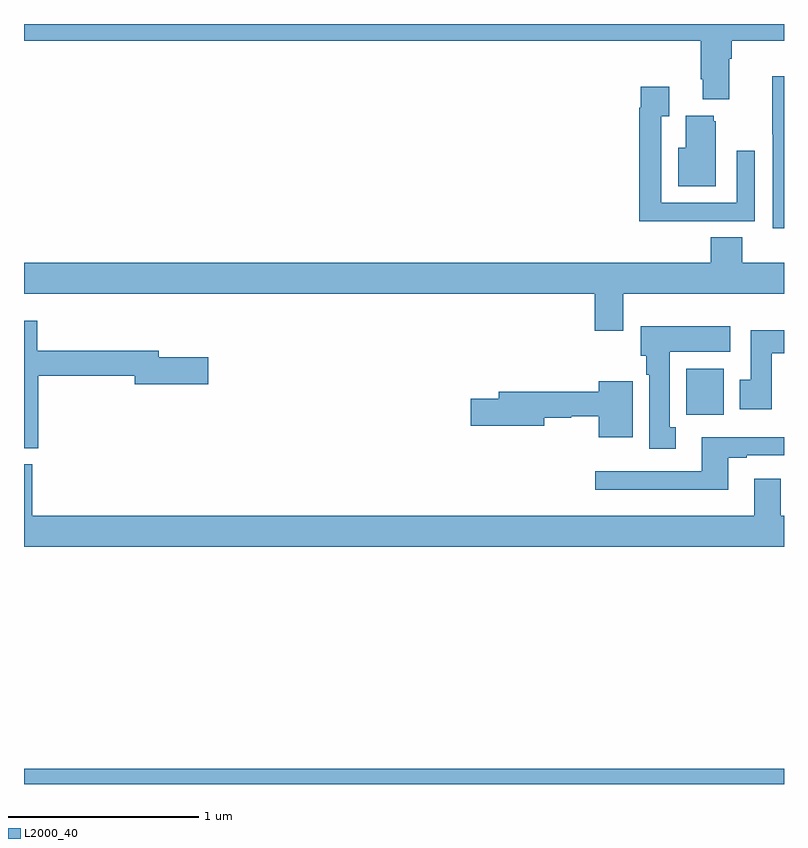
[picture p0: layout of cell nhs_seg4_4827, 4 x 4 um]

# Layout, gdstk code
import gdstk
lib = gdstk.Library(unit=1e-6, precision=1e-09)
def R(c, l, rs):  # rectangles x0, y0, x1, y1
    for r in rs: c.add(gdstk.rectangle(r[:2], r[2:], *l))
def P(c, l, *ps):  # polygons
    for p in ps: c.add(gdstk.Polygon(p, *l))
L2000_40 = (2000, 40)

nhs_seg4_4827 = lib.new_cell('nhs_seg4_4827')
R(nhs_seg4_4827, L2000_40, [(371,800.9,375,800.98), (374.486,802.844,374.683,803.086)])
P(nhs_seg4_4827, L2000_40, [(374.713,804.716),(374.726,804.716),(374.726,804.812),(375,804.812),(375,804.9),(371,804.9),(371,804.812),(374.561,804.812),(374.561,804.61),(374.573,804.61),(374.573,804.503),(374.713,804.503)],
  [(375,804.626),(374.938,804.626),(374.938,804.319),(374.94,804.319),(374.94,803.826),(375,803.826)],
  [(374.531,803.862),(374.847,803.862),(374.847,804.232),(374.751,804.232),(374.751,803.958),(374.355,803.958),(374.355,804.415),(374.395,804.415),(374.395,804.571),(374.247,804.571),(374.247,804.458),(374.239,804.458),(374.239,803.861),(374.531,803.861)],
  [(374.641,804.387),(374.63,804.387),(374.63,804.418),(374.483,804.418),(374.483,804.25),(374.444,804.25),(374.444,804.047),(374.641,804.047)],
  [(374.615,803.777),(374.615,803.644),(371,803.644),(371,803.48),(374.003,803.48),(374.003,803.286),(374.155,803.286),(374.155,803.48),(375,803.48),(375,803.644),(374.78,803.644),(374.78,803.777)],
  [(371.074,803.05),(371.582,803.05),(371.582,803.003),(371.971,803.003),(371.971,803.145),(371.71,803.145),(371.71,803.179),(371.069,803.179),(371.069,803.338),(371,803.338),(371,802.668),(371.074,802.668)],
  [(374.431,802.778),(374.398,802.778),(374.398,803.174),(374.716,803.174),(374.716,803.308),(374.246,803.308),(374.246,803.154),(374.276,803.154),(374.276,803.054),(374.291,803.054),(374.291,802.665),(374.431,802.665)],
  [(374.935,803.168),(375,803.168),(375,803.287),(374.825,803.287),(374.825,803.028),(374.768,803.028),(374.768,802.872),(374.935,802.872)],
  [(374.203,803.02),(374.024,803.02),(374.024,802.964),(373.499,802.964),(373.499,802.928),(373.35,802.928),(373.35,802.786),(373.738,802.786),(373.738,802.828),(373.881,802.828),(373.881,802.836),(374.024,802.836),(374.024,802.724),(374.203,802.724)],
  [(374.707,802.617),(374.803,802.617),(374.803,802.629),(375,802.629),(375,802.726),(374.567,802.726),(374.567,802.545),(374.007,802.545),(374.007,802.448),(374.707,802.448)],
  [(375,802.312),(374.983,802.312),(374.983,802.507),(374.843,802.507),(374.843,802.312),(371.044,802.312),(371.044,802.583),(371,802.583),(371,802.148),(375,802.148)])

lib.write_gds('nhs_seg4_4827.gds')
